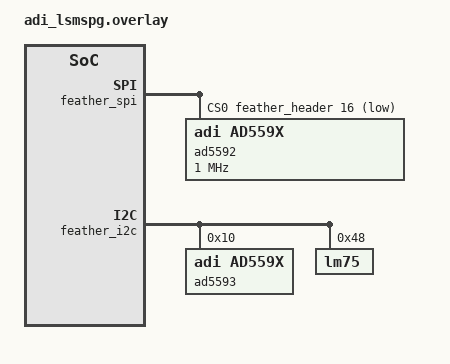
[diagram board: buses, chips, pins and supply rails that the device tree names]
/*
 * Copyright (c) 2026 Analog Devices, Inc
 *
 * SPDX-License-Identifier: Apache-2.0
 */

/ {
	zephyr,user {
		dac = <&ad5592_dac>;
		dac-channel-id = <0>;
		dac-resolution = <12>;
	};
};

&feather_spi {
	status = "okay";

	cs-gpios = <&feather_header 16 GPIO_ACTIVE_LOW>;

	ad5592@0 {
		compatible = "adi,ad559x";
		reg = <0>;
		spi-max-frequency = <DT_FREQ_M(1)>;

		ad5592_adc: ad5592_adc {
			compatible = "adi,ad559x-adc";
			#io-channel-cells = <1>;
			#address-cells = <1>;
			#size-cells = <0>;

			channel@0 {
				reg = <0>;
				zephyr,gain = "ADC_GAIN_1";
				zephyr,reference = "ADC_REF_INTERNAL";
				zephyr,acquisition-time = <ADC_ACQ_TIME_DEFAULT>;
				zephyr,resolution = <12>;
				zephyr,vref-mv = <2500>;
			};

			channel@1 {
				reg = <1>;
				zephyr,gain = "ADC_GAIN_1";
				zephyr,reference = "ADC_REF_INTERNAL";
				zephyr,acquisition-time = <ADC_ACQ_TIME_DEFAULT>;
				zephyr,resolution = <12>;
				zephyr,vref-mv = <2500>;
			};

			channel@2 {
				reg = <2>;
				zephyr,gain = "ADC_GAIN_1";
				zephyr,reference = "ADC_REF_INTERNAL";
				zephyr,acquisition-time = <ADC_ACQ_TIME_DEFAULT>;
				zephyr,resolution = <12>;
				zephyr,vref-mv = <2500>;
			};
		};

		ad5592_dac: ad5592_dac {
			compatible = "adi,ad559x-dac";
			#io-channel-cells = <1>;
			#address-cells = <1>;
			#size-cells = <0>;

			channel@0 {
				reg = <0>;
				zephyr,resolution = <12>;
				zephyr,vref-mv = <2500>;
			};

			channel@2 {
				reg = <2>;
				zephyr,resolution = <12>;
				zephyr,vref-mv = <2500>;
			};
		};
	};
};

&feather_i2c {
	status = "okay";

	ad5593@10 {
		compatible = "adi,ad559x";
		reg = <0x10>;

		ad5593_adc: ad5593_adc {
			compatible = "adi,ad559x-adc";
			#io-channel-cells = <1>;
			#address-cells = <1>;
			#size-cells = <0>;

			channel@0 {
				reg = <0>;
				zephyr,gain = "ADC_GAIN_1";
				zephyr,reference = "ADC_REF_INTERNAL";
				zephyr,acquisition-time = <ADC_ACQ_TIME_DEFAULT>;
				zephyr,resolution = <12>;
				zephyr,vref-mv = <2500>;
			};

			channel@1 {
				reg = <1>;
				zephyr,gain = "ADC_GAIN_1";
				zephyr,reference = "ADC_REF_INTERNAL";
				zephyr,acquisition-time = <ADC_ACQ_TIME_DEFAULT>;
				zephyr,resolution = <12>;
				zephyr,vref-mv = <2500>;
			};

			channel@2 {
				reg = <2>;
				zephyr,gain = "ADC_GAIN_1";
				zephyr,reference = "ADC_REF_INTERNAL";
				zephyr,acquisition-time = <ADC_ACQ_TIME_DEFAULT>;
				zephyr,resolution = <12>;
				zephyr,vref-mv = <2500>;
			};
		};

		ad5593_dac: ad5593_dac {
			compatible = "adi,ad559x-dac";
			#io-channel-cells = <1>;
			#address-cells = <1>;
			#size-cells = <0>;

			channel@0 {
				reg = <0>;
				zephyr,resolution = <12>;
				zephyr,vref-mv = <2500>;
			};

			channel@2 {
				reg = <2>;
				zephyr,resolution = <12>;
				zephyr,vref-mv = <2500>;
			};

			channel@3 {
				reg = <3>;
				zephyr,resolution = <12>;
				zephyr,vref-mv = <2500>;
			};
		};
	};

	lm75: lm75@48 {
		compatible = "lm75";
		reg = <0x48>;
	};
};
